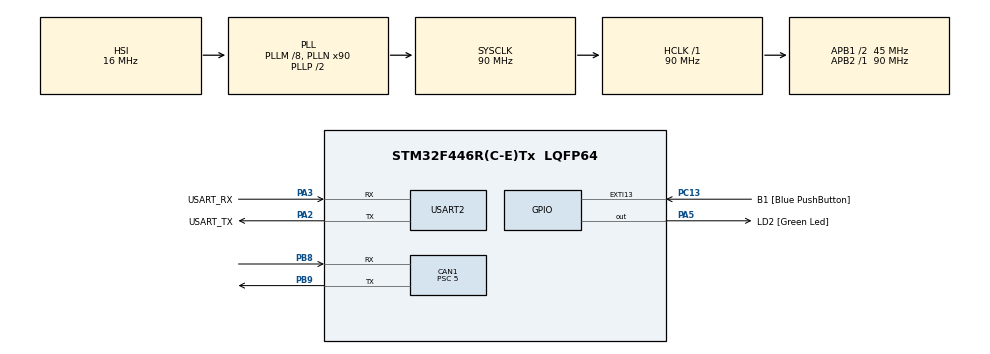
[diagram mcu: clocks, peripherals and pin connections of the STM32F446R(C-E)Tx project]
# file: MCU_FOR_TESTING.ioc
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CAN1.BS1=CAN_BS1_15TQ
CAN1.BS2=CAN_BS2_2TQ
CAN1.CalculateBaudRate=500000
CAN1.CalculateTimeBit=2000
CAN1.CalculateTimeQuantum=111.11111111111111
CAN1.Prescaler=5
Mcu.Family=STM32F4
Mcu.Name=STM32F446R(C-E)Tx
Mcu.Package=LQFP64
NVIC.CAN1_RX0_IRQn=true\:0\:0\:false\:false\:true\:true\:true\:true
NVIC.PriorityGroup=NVIC_PRIORITYGROUP_0
PA13.GPIO_Label=TMS
PA13.Mode=Serial_Wire
PA13.Signal=SYS_JTMS-SWDIO
PA14.GPIO_Label=TCK
PA14.Mode=Serial_Wire
PA14.Signal=SYS_JTCK-SWCLK
PA2.GPIO_Label=USART_TX
PA2.Mode=Asynchronous
PA2.Signal=USART2_TX
PA3.GPIO_Label=USART_RX
PA3.Mode=Asynchronous
PA3.Signal=USART2_RX
PA5.GPIO_Label=LD2 [Green Led]
PA5.Signal=GPIO_Output
PB3.GPIO_Label=SWO
PB3.Signal=SYS_JTDO-SWO
PB8.Mode=CAN_Activate
PB8.Signal=CAN1_RX
PB9.Mode=CAN_Activate
PB9.Signal=CAN1_TX
PC13.GPIO_Label=B1 [Blue PushButton]
PC13.GPIO_ModeDefaultEXTI=GPIO_MODE_IT_FALLING
PC13.Signal=GPXTI13
PC14-OSC32_IN.Mode=LSE-External-Oscillator
PC14-OSC32_IN.Signal=RCC_OSC32_IN
PC15-OSC32_OUT.Mode=LSE-External-Oscillator
PC15-OSC32_OUT.Signal=RCC_OSC32_OUT
PH0-OSC_IN.Mode=HSE-External-Oscillator
PH0-OSC_IN.Signal=RCC_OSC_IN
PH1-OSC_OUT.Mode=HSE-External-Oscillator
PH1-OSC_OUT.Signal=RCC_OSC_OUT
ProjectManager.HeapSize=0x200
ProjectManager.StackSize=0x400
ProjectManager.TargetToolchain=STM32CubeIDE
RCC.48MHZClocksFreq_Value=84000000
RCC.AHBFreq_Value=90000000
RCC.APB1CLKDivider=RCC_HCLK_DIV2
RCC.APB1Freq_Value=45000000
RCC.APB1TimFreq_Value=90000000
RCC.APB2Freq_Value=90000000
RCC.APB2TimFreq_Value=90000000
RCC.CortexFreq_Value=90000000
RCC.FLatency-AdvancedSettings=FLASH_LATENCY_2
RCC.HCLKFreq_Value=90000000
RCC.HSE_VALUE=8000000
RCC.HSI_VALUE=16000000
RCC.PLLM=8
RCC.PLLN=90
RCC.SYSCLKFreq_VALUE=90000000
RCC.SYSCLKSource=RCC_SYSCLKSOURCE_PLLCLK
RCC.USBFreq_Value=90000000
RCC.VCOOutputFreq_Value=180000000
USART2.VirtualMode=VM_ASYNC
board=NUCLEO-F446RE

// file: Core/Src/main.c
/* USER CODE BEGIN Header */
/**
  ******************************************************************************
  * @file           : main.c
  * @brief          : Main program body
  ******************************************************************************
  * @attention
  *
  * Copyright (c) 2026 STMicroelectronics.
  * All rights reserved.
  *
  * This software is licensed under terms that can be found in the LICENSE file
  * in the root directory of this software component.
  * If no LICENSE file comes with this software, it is provided AS-IS.
  *
  ******************************************************************************
  */
/* USER CODE END Header */
#include "main.h"
#include "can_messages.h"
/* USER CODE BEGIN Includes */
#include <stdio.h>
#include <string.h>
/* USER CODE END Includes */

CAN_HandleTypeDef hcan1;

UART_HandleTypeDef huart2;

/* USER CODE BEGIN PV */
CAN_TxHeaderTypeDef TxHeader_Tick;
uint32_t TxMailbox_Tick;
uint8_t TxData_Tick[1] = {0x01}; // Payload dữ liệu nhịp chớp
/* USER CODE END PV */

void SystemClock_Config(void);
static void MX_GPIO_Init(void);
static void MX_USART2_UART_Init(void);
static void MX_CAN1_Init(void);

int main(void)
{

  /* MCU Configuration--------------------------------------------------------*/

  /* Reset of all peripherals, Initializes the Flash interface and the Systick. */
  HAL_Init();

  /* Configure the system clock */
  SystemClock_Config();

  /* Initialize all configured peripherals */
  MX_GPIO_Init();
  MX_USART2_UART_Init();
  MX_CAN1_Init();
  /* USER CODE BEGIN 2 */
  CAN_FilterTypeDef canfilterconfig;
    canfilterconfig.FilterActivation = CAN_FILTER_ENABLE;
    canfilterconfig.FilterBank = 0;
    canfilterconfig.FilterFIFOAssignment = CAN_FILTER_FIFO0;
    canfilterconfig.FilterIdHigh = 0x0000;
    canfilterconfig.FilterIdLow = 0x0000;
    canfilterconfig.FilterMaskIdHigh = 0x0000;
    canfilterconfig.FilterMaskIdLow = 0x0000;
    canfilterconfig.FilterMode = CAN_FILTERMODE_IDMASK;
    canfilterconfig.FilterScale = CAN_FILTERSCALE_32BIT;

    // Áp dụng bộ lọc cho hcan1 của Nucleo
    HAL_CAN_ConfigFilter(&hcan1, &canfilterconfig);
    // =======================================================

    HAL_CAN_Start(&hcan1); // Bật CAN trên Nucleo

    // Kích hoạt ngắt nhận CAN
    HAL_CAN_ActivateNotification(&hcan1, CAN_IT_RX_FIFO0_MSG_PENDING);

    // Cấu hình khung truyền Blink Tick 0x130[cite: 1]
    TxHeader_Tick.StdId = CAN_ID_BLINK_TICK;
    TxHeader_Tick.ExtId = 0x00;
    TxHeader_Tick.RTR = CAN_RTR_DATA;
    TxHeader_Tick.IDE = CAN_ID_STD;
    TxHeader_Tick.DLC = 1;
    TxHeader_Tick.TransmitGlobalTime = DISABLE;

    // In ra màn hình để báo hiệu khởi động
    char hello_msg[] = "=== NUCLEO IS READY ===\r\n";
    HAL_UART_Transmit(&huart2, (uint8_t*)hello_msg, strlen(hello_msg), 100);
  /* USER CODE END 2 */

  /* Infinite loop */
  /* USER CODE BEGIN WHILE */
  while (1)
  {
	  // Phát nhịp chớp đồng bộ 0x130 lên mạng CAN mỗi 500 ms
	        HAL_CAN_AddTxMessage(&hcan1, &TxHeader_Tick, TxData_Tick, &TxMailbox_Tick);

	        HAL_Delay(500);
    /* USER CODE END WHILE */

  }
}

void SystemClock_Config(void)
{
  RCC_OscInitTypeDef RCC_OscInitStruct = {0};
  RCC_ClkInitTypeDef RCC_ClkInitStruct = {0};

  /** Configure the main internal regulator output voltage
  */
  __HAL_RCC_PWR_CLK_ENABLE();
  __HAL_PWR_VOLTAGESCALING_CONFIG(PWR_REGULATOR_VOLTAGE_SCALE3);

  /** Initializes the RCC Oscillators according to the specified parameters
  * in the RCC_OscInitTypeDef structure.
  */
  RCC_OscInitStruct.OscillatorType = RCC_OSCILLATORTYPE_HSI;
  RCC_OscInitStruct.HSIState = RCC_HSI_ON;
  RCC_OscInitStruct.HSICalibrationValue = RCC_HSICALIBRATION_DEFAULT;
  RCC_OscInitStruct.PLL.PLLState = RCC_PLL_ON;
  RCC_OscInitStruct.PLL.PLLSource = RCC_PLLSOURCE_HSI;
  RCC_OscInitStruct.PLL.PLLM = 8;
  RCC_OscInitStruct.PLL.PLLN = 90;
  RCC_OscInitStruct.PLL.PLLP = RCC_PLLP_DIV2;
  RCC_OscInitStruct.PLL.PLLQ = 2;
  RCC_OscInitStruct.PLL.PLLR = 2;
  if (HAL_RCC_OscConfig(&RCC_OscInitStruct) != HAL_OK)
  {
    Error_Handler();
  }

  /** Initializes the CPU, AHB and APB buses clocks
  */
  RCC_ClkInitStruct.ClockType = RCC_CLOCKTYPE_HCLK|RCC_CLOCKTYPE_SYSCLK
                              |RCC_CLOCKTYPE_PCLK1|RCC_CLOCKTYPE_PCLK2;
  RCC_ClkInitStruct.SYSCLKSource = RCC_SYSCLKSOURCE_PLLCLK;
  RCC_ClkInitStruct.AHBCLKDivider = RCC_SYSCLK_DIV1;
  RCC_ClkInitStruct.APB1CLKDivider = RCC_HCLK_DIV2;
  RCC_ClkInitStruct.APB2CLKDivider = RCC_HCLK_DIV1;

  if (HAL_RCC_ClockConfig(&RCC_ClkInitStruct, FLASH_LATENCY_2) != HAL_OK)
  {
    Error_Handler();
  }
}

static void MX_CAN1_Init(void)
{

  hcan1.Instance = CAN1;
  hcan1.Init.Prescaler = 5;
  hcan1.Init.Mode = CAN_MODE_NORMAL;
  hcan1.Init.SyncJumpWidth = CAN_SJW_1TQ;
  hcan1.Init.TimeSeg1 = CAN_BS1_15TQ;
  hcan1.Init.TimeSeg2 = CAN_BS2_2TQ;
  hcan1.Init.TimeTriggeredMode = DISABLE;
  hcan1.Init.AutoBusOff = DISABLE;
  hcan1.Init.AutoWakeUp = DISABLE;
  hcan1.Init.AutoRetransmission = DISABLE;
  hcan1.Init.ReceiveFifoLocked = DISABLE;
  hcan1.Init.TransmitFifoPriority = DISABLE;
  if (HAL_CAN_Init(&hcan1) != HAL_OK)
  {
    Error_Handler();
  }

}

static void MX_USART2_UART_Init(void)
{

  huart2.Instance = USART2;
  huart2.Init.BaudRate = 115200;
  huart2.Init.WordLength = UART_WORDLENGTH_8B;
  huart2.Init.StopBits = UART_STOPBITS_1;
  huart2.Init.Parity = UART_PARITY_NONE;
  huart2.Init.Mode = UART_MODE_TX_RX;
  huart2.Init.HwFlowCtl = UART_HWCONTROL_NONE;
  huart2.Init.OverSampling = UART_OVERSAMPLING_16;
  if (HAL_UART_Init(&huart2) != HAL_OK)
  {
    Error_Handler();
  }

}

static void MX_GPIO_Init(void)
{
  GPIO_InitTypeDef GPIO_InitStruct = {0};

  /* GPIO Ports Clock Enable */
  __HAL_RCC_GPIOC_CLK_ENABLE();
  __HAL_RCC_GPIOH_CLK_ENABLE();
  __HAL_RCC_GPIOA_CLK_ENABLE();
  __HAL_RCC_GPIOB_CLK_ENABLE();

  /*Configure GPIO pin Output Level */
  HAL_GPIO_WritePin(LD2_GPIO_Port, LD2_Pin, GPIO_PIN_RESET);

  /*Configure GPIO pin : B1_Pin */
  GPIO_InitStruct.Pin = B1_Pin;
  GPIO_InitStruct.Mode = GPIO_MODE_IT_FALLING;
  GPIO_InitStruct.Pull = GPIO_NOPULL;
  HAL_GPIO_Init(B1_GPIO_Port, &GPIO_InitStruct);

  /*Configure GPIO pin : LD2_Pin */
  GPIO_InitStruct.Pin = LD2_Pin;
  GPIO_InitStruct.Mode = GPIO_MODE_OUTPUT_PP;
  GPIO_InitStruct.Pull = GPIO_NOPULL;
  GPIO_InitStruct.Speed = GPIO_SPEED_FREQ_LOW;
  HAL_GPIO_Init(LD2_GPIO_Port, &GPIO_InitStruct);

}

/* USER CODE BEGIN 4 */
void HAL_CAN_RxFifo0MsgPendingCallback(CAN_HandleTypeDef *hcan)
{
    CAN_RxHeaderTypeDef RxHeader;
    uint8_t RxData[8];
    char uart_buf[100];
    char temp_buf[10];

    // Rút gói tin từ bộ đệm CAN
    if (HAL_CAN_GetRxMessage(hcan, CAN_RX_FIFO0, &RxHeader, RxData) == HAL_OK)
    {
        // Khởi tạo chuỗi CAN:<ID>:<DLC>:
        sprintf(uart_buf, "CAN:%03lX:%ld:", RxHeader.StdId, RxHeader.DLC);

        // Nối data vào chuỗi dựa trên chiều dài DLC thực tế
        for(uint8_t i = 0; i < RxHeader.DLC; i++) {
            sprintf(temp_buf, "%02X", RxData[i]);
            strcat(uart_buf, temp_buf);
        }
        strcat(uart_buf, "\r\n");

        // Đẩy chuỗi lên máy tính qua cổng USART2 (cáp USB của Nucleo)
        HAL_UART_Transmit(&huart2, (uint8_t*)uart_buf, strlen(uart_buf), 100);
    }
}
/* USER CODE END 4 */

void Error_Handler(void)
{
  __disable_irq();
  while (1)
  {
  }
}
